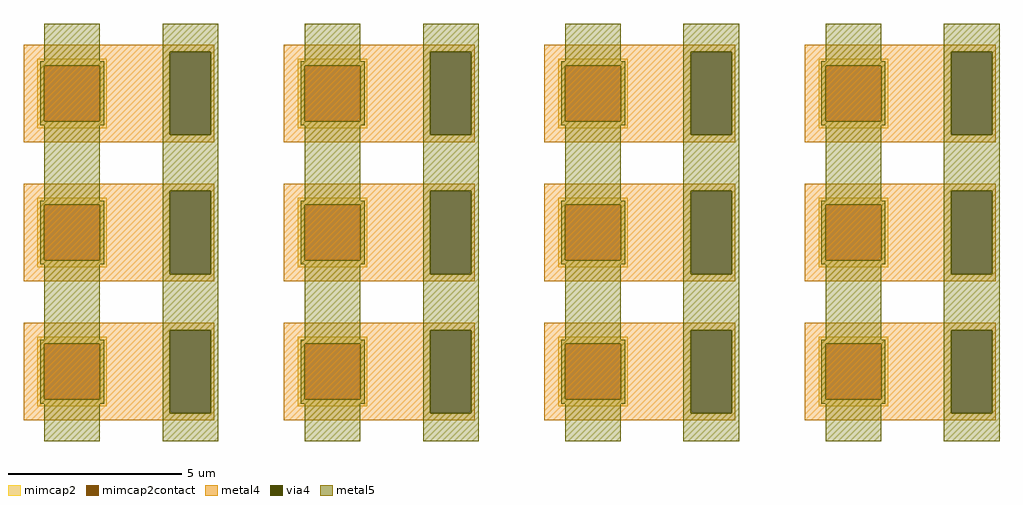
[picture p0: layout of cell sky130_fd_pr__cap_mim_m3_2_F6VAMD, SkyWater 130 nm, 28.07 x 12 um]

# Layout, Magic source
magic
tech sky130A
magscale 1 2
<< metal4 >>
rect -2796 1039 -1698 1080
rect -2796 561 -1954 1039
rect -1718 561 -1698 1039
rect -2796 520 -1698 561
rect -1298 1039 -200 1080
rect -1298 561 -456 1039
rect -220 561 -200 1039
rect -1298 520 -200 561
rect 200 1039 1298 1080
rect 200 561 1042 1039
rect 1278 561 1298 1039
rect 200 520 1298 561
rect 1698 1039 2796 1080
rect 1698 561 2540 1039
rect 2776 561 2796 1039
rect 1698 520 2796 561
rect -2796 239 -1698 280
rect -2796 -239 -1954 239
rect -1718 -239 -1698 239
rect -2796 -280 -1698 -239
rect -1298 239 -200 280
rect -1298 -239 -456 239
rect -220 -239 -200 239
rect -1298 -280 -200 -239
rect 200 239 1298 280
rect 200 -239 1042 239
rect 1278 -239 1298 239
rect 200 -280 1298 -239
rect 1698 239 2796 280
rect 1698 -239 2540 239
rect 2776 -239 2796 239
rect 1698 -280 2796 -239
rect -2796 -561 -1698 -520
rect -2796 -1039 -1954 -561
rect -1718 -1039 -1698 -561
rect -2796 -1080 -1698 -1039
rect -1298 -561 -200 -520
rect -1298 -1039 -456 -561
rect -220 -1039 -200 -561
rect -1298 -1080 -200 -1039
rect 200 -561 1298 -520
rect 200 -1039 1042 -561
rect 1278 -1039 1298 -561
rect 200 -1080 1298 -1039
rect 1698 -561 2796 -520
rect 1698 -1039 2540 -561
rect 2776 -1039 2796 -561
rect 1698 -1080 2796 -1039
<< via4 >>
rect -1954 561 -1718 1039
rect -456 561 -220 1039
rect 1042 561 1278 1039
rect 2540 561 2776 1039
rect -1954 -239 -1718 239
rect -456 -239 -220 239
rect 1042 -239 1278 239
rect 2540 -239 2776 239
rect -1954 -1039 -1718 -561
rect -456 -1039 -220 -561
rect 1042 -1039 1278 -561
rect 2540 -1039 2776 -561
<< mimcap2 >>
rect -2716 960 -2316 1000
rect -2716 640 -2676 960
rect -2356 640 -2316 960
rect -2716 600 -2316 640
rect -1218 960 -818 1000
rect -1218 640 -1178 960
rect -858 640 -818 960
rect -1218 600 -818 640
rect 280 960 680 1000
rect 280 640 320 960
rect 640 640 680 960
rect 280 600 680 640
rect 1778 960 2178 1000
rect 1778 640 1818 960
rect 2138 640 2178 960
rect 1778 600 2178 640
rect -2716 160 -2316 200
rect -2716 -160 -2676 160
rect -2356 -160 -2316 160
rect -2716 -200 -2316 -160
rect -1218 160 -818 200
rect -1218 -160 -1178 160
rect -858 -160 -818 160
rect -1218 -200 -818 -160
rect 280 160 680 200
rect 280 -160 320 160
rect 640 -160 680 160
rect 280 -200 680 -160
rect 1778 160 2178 200
rect 1778 -160 1818 160
rect 2138 -160 2178 160
rect 1778 -200 2178 -160
rect -2716 -640 -2316 -600
rect -2716 -960 -2676 -640
rect -2356 -960 -2316 -640
rect -2716 -1000 -2316 -960
rect -1218 -640 -818 -600
rect -1218 -960 -1178 -640
rect -858 -960 -818 -640
rect -1218 -1000 -818 -960
rect 280 -640 680 -600
rect 280 -960 320 -640
rect 640 -960 680 -640
rect 280 -1000 680 -960
rect 1778 -640 2178 -600
rect 1778 -960 1818 -640
rect 2138 -960 2178 -640
rect 1778 -1000 2178 -960
<< mimcap2contact >>
rect -2676 640 -2356 960
rect -1178 640 -858 960
rect 320 640 640 960
rect 1818 640 2138 960
rect -2676 -160 -2356 160
rect -1178 -160 -858 160
rect 320 -160 640 160
rect 1818 -160 2138 160
rect -2676 -960 -2356 -640
rect -1178 -960 -858 -640
rect 320 -960 640 -640
rect 1818 -960 2138 -640
<< metal5 >>
rect -2676 984 -2356 1200
rect -1996 1039 -1676 1200
rect -2700 960 -2332 984
rect -2700 640 -2676 960
rect -2356 640 -2332 960
rect -2700 616 -2332 640
rect -2676 184 -2356 616
rect -1996 561 -1954 1039
rect -1718 561 -1676 1039
rect -1178 984 -858 1200
rect -498 1039 -178 1200
rect -1202 960 -834 984
rect -1202 640 -1178 960
rect -858 640 -834 960
rect -1202 616 -834 640
rect -1996 239 -1676 561
rect -2700 160 -2332 184
rect -2700 -160 -2676 160
rect -2356 -160 -2332 160
rect -2700 -184 -2332 -160
rect -2676 -616 -2356 -184
rect -1996 -239 -1954 239
rect -1718 -239 -1676 239
rect -1178 184 -858 616
rect -498 561 -456 1039
rect -220 561 -178 1039
rect 320 984 640 1200
rect 1000 1039 1320 1200
rect 296 960 664 984
rect 296 640 320 960
rect 640 640 664 960
rect 296 616 664 640
rect -498 239 -178 561
rect -1202 160 -834 184
rect -1202 -160 -1178 160
rect -858 -160 -834 160
rect -1202 -184 -834 -160
rect -1996 -561 -1676 -239
rect -2700 -640 -2332 -616
rect -2700 -960 -2676 -640
rect -2356 -960 -2332 -640
rect -2700 -984 -2332 -960
rect -2676 -1200 -2356 -984
rect -1996 -1039 -1954 -561
rect -1718 -1039 -1676 -561
rect -1178 -616 -858 -184
rect -498 -239 -456 239
rect -220 -239 -178 239
rect 320 184 640 616
rect 1000 561 1042 1039
rect 1278 561 1320 1039
rect 1818 984 2138 1200
rect 2498 1039 2818 1200
rect 1794 960 2162 984
rect 1794 640 1818 960
rect 2138 640 2162 960
rect 1794 616 2162 640
rect 1000 239 1320 561
rect 296 160 664 184
rect 296 -160 320 160
rect 640 -160 664 160
rect 296 -184 664 -160
rect -498 -561 -178 -239
rect -1202 -640 -834 -616
rect -1202 -960 -1178 -640
rect -858 -960 -834 -640
rect -1202 -984 -834 -960
rect -1996 -1200 -1676 -1039
rect -1178 -1200 -858 -984
rect -498 -1039 -456 -561
rect -220 -1039 -178 -561
rect 320 -616 640 -184
rect 1000 -239 1042 239
rect 1278 -239 1320 239
rect 1818 184 2138 616
rect 2498 561 2540 1039
rect 2776 561 2818 1039
rect 2498 239 2818 561
rect 1794 160 2162 184
rect 1794 -160 1818 160
rect 2138 -160 2162 160
rect 1794 -184 2162 -160
rect 1000 -561 1320 -239
rect 296 -640 664 -616
rect 296 -960 320 -640
rect 640 -960 664 -640
rect 296 -984 664 -960
rect -498 -1200 -178 -1039
rect 320 -1200 640 -984
rect 1000 -1039 1042 -561
rect 1278 -1039 1320 -561
rect 1818 -616 2138 -184
rect 2498 -239 2540 239
rect 2776 -239 2818 239
rect 2498 -561 2818 -239
rect 1794 -640 2162 -616
rect 1794 -960 1818 -640
rect 2138 -960 2162 -640
rect 1794 -984 2162 -960
rect 1000 -1200 1320 -1039
rect 1818 -1200 2138 -984
rect 2498 -1039 2540 -561
rect 2776 -1039 2818 -561
rect 2498 -1200 2818 -1039
<< properties >>
string FIXED_BBOX 1698 520 2258 1080
string gencell sky130_fd_pr__cap_mim_m3_2
string library sky130
string parameters w 2.00 l 2.00 val 9.52 carea 2.00 cperi 0.19 nx 4 ny 3 dummy 0 square 0 lmin 2.00 wmin 2.00 lmax 30.0 wmax 30.0 dc 0 bconnect 1 tconnect 1 ccov 100
<< end >>
